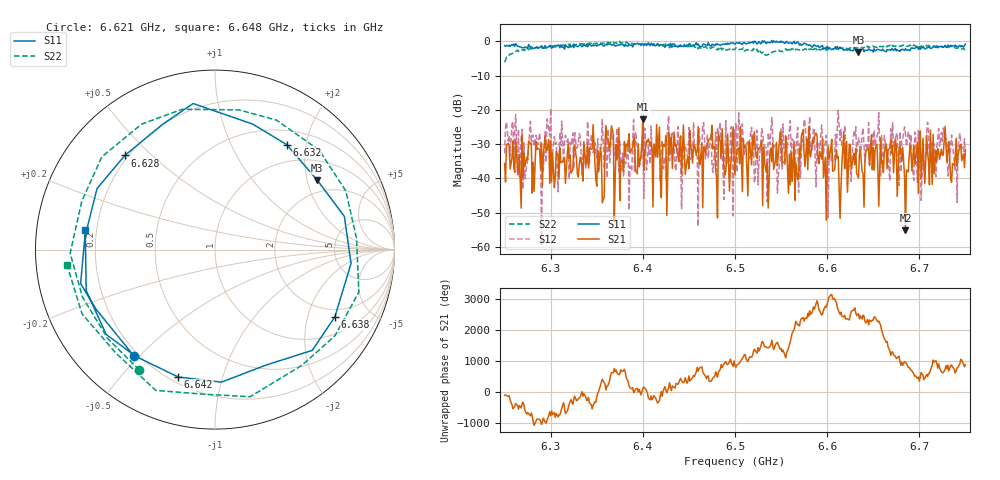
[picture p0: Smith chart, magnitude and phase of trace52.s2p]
# Hz S RI R 50
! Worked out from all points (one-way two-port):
!   401 points, 6.25 GHz to 6.75 GHz, reference 50 ohm
!   highest |S21| = -22.71 dB at 6.4 GHz (marker M1); lowest = -55.2 dB at 6.685 GHz (marker M2)
!   lowest |S11| = -3.2 dB at 6.634 GHz (marker M3), VSWR 5.42, Z = 78.6 + j116 ohm
!   |S11| at or under -10 dB: nowhere
!   |S22| runs from -6.1 to 0.0 dB; largest |S21 - S12| = 0.12
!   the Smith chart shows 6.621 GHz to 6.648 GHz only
!   S11 on the Smith chart (normalised r, x): 6.621 GHz: 0.18, -0.48; 6.628 GHz: 0.19, +0.41; 6.632 GHz: 0.71, +1.67; 6.638 GHz: 1.65, -2.99; 6.642 GHz: 0.23, -0.73; 6.648 GHz: 0.16, +0.07
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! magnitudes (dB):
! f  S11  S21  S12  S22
! 6.25 GHz  -1.3  -35.7  -32.7  -6.1
! 6.272 GHz  -1.7  -36.5  -40.2  -2.4
! 6.286 GHz  -1.9  -31.2  -30.3  -1.9
! 6.292 GHz  -2.0  -32.9  -37.7  -2.0
! 6.298 GHz  -1.5  -28.6  -25.7  -1.5
! 6.334 GHz  -1.6  -36.5  -38.9  -0.8
! 6.4 GHz  -0.9  -22.7  -26.7  -0.9
! 6.418 GHz  -1.3  -25.0  -32.9  -1.4
! 6.5 GHz  -0.9  -39.0  -32.6  -2.4
! 6.584 GHz  -1.8  -28.8  -31.7  -2.4
! 6.604 GHz  -2.2  -31.1  -35.2  -2.3
! 6.621 GHz  -2.6  -29.2  -30.3  -2.0
! 6.628 GHz  -2.8  -34.4  -29.2  -1.8
! 6.632 GHz  -3.0  -38.6  -32.4  -2.0
! 6.634 GHz  -3.2  -39.8  -28.2  -1.9
! 6.638 GHz  -2.3  -38.1  -27.2  -1.6
! 6.642 GHz  -2.6  -32.2  -30.1  -1.9
! 6.648 GHz  -2.7  -27.3  -28.9  -1.6
! 6.668 GHz  -2.5  -31.1  -40.7  -1.2
! 6.685 GHz  -2.2  -55.2  -26.9  -1.3
! 6.702 GHz  -1.9  -40.1  -46.4  -1.4
! 6.75 GHz  -0.8  -31.6  -32.2  -2.4
